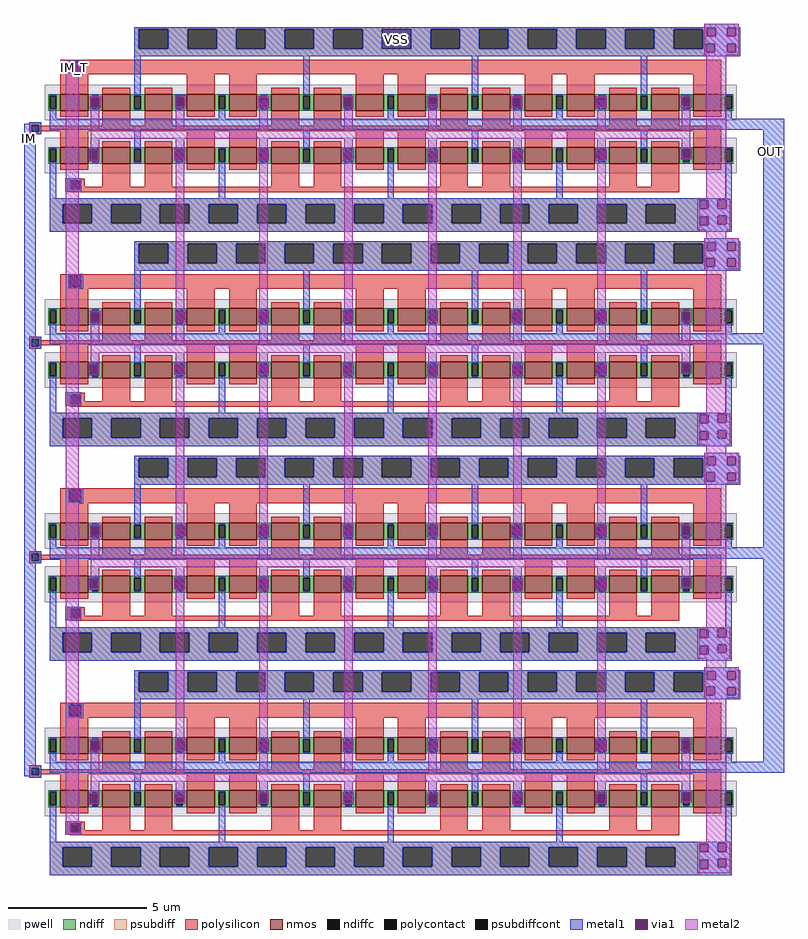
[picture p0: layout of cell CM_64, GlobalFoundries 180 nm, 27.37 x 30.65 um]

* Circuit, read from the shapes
.subckt CM_64 IM IM_T OUT VSS
XM1 n1 IM VSS VSS nfet_03v3 w=0.6u l=1u m=64
XM2 n1 IM_T OUT VSS nfet_03v3 w=0.6u l=1u m=64
.ends

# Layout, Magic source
magic
tech gf180mcuC
magscale 1 10
<< metal1 >>
rect 2521 5940 2780 6093
rect 296 5783 363 5852
rect 1 5409 47 5412
rect -37 712 47 5409
rect 5234 5367 5436 5447
rect 5286 735 5436 5367
<< metal2 >>
rect 264 2622 358 5865
rect 264 932 359 2622
rect 1056 555 1118 5307
rect 1658 598 1720 5582
rect 2269 538 2331 5505
rect 2874 621 2936 5554
rect 3486 534 3548 5509
rect 4092 609 4154 5580
rect 4877 4490 5021 5030
rect 4877 2744 5021 3462
rect 4877 1170 5021 1994
use CM_16  CM_16_0
transform 1 0 112 0 1 4692
box -112 -60 5231 1437
use CM_16  CM_16_1
transform 1 0 112 0 1 3148
box -112 -60 5231 1437
use CM_16  CM_16_2
transform 1 0 112 0 1 1604
box -112 -60 5231 1437
use CM_16  CM_16_3
transform 1 0 112 0 1 60
box -112 -60 5231 1437
<< labels >>
flabel metal1 -1 5302 -1 5302 0 FreeSans 1600 0 0 0 IM
port 0 nsew
flabel metal2 328 5818 328 5818 0 FreeSans 1600 0 0 0 IM_T
port 1 nsew
flabel metal1 5337 5211 5337 5211 0 FreeSans 1600 0 0 0 OUT
port 2 nsew
flabel metal1 2645 6016 2645 6016 0 FreeSans 1600 0 0 0 VSS
port 3 nsew
<< end >>

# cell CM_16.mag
magic
tech gf180mcuC
magscale 1 10
<< psubdiff >>
rect 645 1399 4765 1415
rect 645 1259 679 1399
rect 889 1259 1029 1399
rect 1239 1259 1379 1399
rect 1589 1259 1729 1399
rect 1939 1259 2079 1399
rect 2289 1259 2429 1399
rect 2639 1259 2779 1399
rect 2989 1259 3129 1399
rect 3339 1259 3479 1399
rect 3689 1259 3829 1399
rect 4039 1259 4179 1399
rect 4389 1259 4529 1399
rect 4739 1259 4765 1399
rect 645 1205 4765 1259
rect 37 140 4717 181
rect 37 0 130 140
rect 340 0 480 140
rect 690 0 830 140
rect 1040 0 1180 140
rect 1390 0 1530 140
rect 1740 0 1880 140
rect 2090 0 2230 140
rect 2440 0 2580 140
rect 2790 0 2930 140
rect 3140 0 3280 140
rect 3490 0 3630 140
rect 3840 0 3980 140
rect 4190 0 4330 140
rect 4540 0 4717 140
rect 37 -60 4717 0
<< psubdiffcont >>
rect 679 1259 889 1399
rect 1029 1259 1239 1399
rect 1379 1259 1589 1399
rect 1729 1259 1939 1399
rect 2079 1259 2289 1399
rect 2429 1259 2639 1399
rect 2779 1259 2989 1399
rect 3129 1259 3339 1399
rect 3479 1259 3689 1399
rect 3829 1259 4039 1399
rect 4179 1259 4389 1399
rect 4529 1259 4739 1399
rect 130 0 340 140
rect 480 0 690 140
rect 830 0 1040 140
rect 1180 0 1390 140
rect 1530 0 1740 140
rect 1880 0 2090 140
rect 2230 0 2440 140
rect 2580 0 2790 140
rect 2930 0 3140 140
rect 3280 0 3490 140
rect 3630 0 3840 140
rect 3980 0 4190 140
rect 4330 0 4540 140
<< polysilicon >>
rect 112 1166 4872 1180
rect 112 1087 180 1166
rect 259 1087 4872 1166
rect 112 1073 4872 1087
rect 112 976 312 1073
rect 1024 976 1224 1073
rect 1328 976 1528 1073
rect 2240 976 2440 1073
rect 2544 976 2744 1073
rect 3456 976 3656 1073
rect 3760 976 3960 1073
rect 4672 976 4872 1073
rect -112 709 -25 729
rect -112 661 -92 709
rect -43 703 -25 709
rect 416 703 616 768
rect 720 703 920 768
rect 1632 703 1832 768
rect 1936 703 2136 768
rect 2848 703 3048 768
rect 3152 703 3352 768
rect 4064 703 4264 768
rect 4368 703 4568 768
rect -43 666 4872 703
rect -43 661 -25 666
rect -112 642 -25 661
rect 112 594 312 666
rect 1024 594 1224 666
rect 1328 594 1528 666
rect 2240 594 2440 666
rect 2544 594 2744 666
rect 3456 594 3656 666
rect 3760 594 3960 666
rect 4672 594 4872 666
rect 507 386 616 430
rect 147 324 265 327
rect 147 312 290 324
rect 147 247 188 312
rect 253 263 290 312
rect 416 263 616 386
rect 720 263 920 386
rect 1632 263 1832 386
rect 1936 263 2136 386
rect 2848 263 3048 386
rect 3152 263 3352 386
rect 4064 263 4264 386
rect 4368 263 4568 386
rect 253 247 4568 263
rect 147 230 4568 247
rect 182 226 4568 230
<< polycontact >>
rect 180 1087 259 1166
rect -92 661 -43 709
rect 188 247 253 312
<< metal1 >>
rect 4751 1415 4999 1437
rect 645 1409 5009 1415
rect 645 1408 4916 1409
rect 645 1399 4772 1408
rect 645 1259 679 1399
rect 889 1259 1029 1399
rect 1239 1259 1379 1399
rect 1589 1259 1729 1399
rect 1939 1259 2079 1399
rect 2289 1259 2429 1399
rect 2639 1259 2779 1399
rect 2989 1259 3129 1399
rect 3339 1259 3479 1399
rect 3689 1259 3829 1399
rect 4039 1259 4179 1399
rect 4389 1259 4529 1399
rect 4739 1348 4772 1399
rect 4832 1348 4916 1408
rect 4739 1347 4916 1348
rect 4978 1347 5009 1409
rect 4739 1295 5009 1347
rect 4739 1259 4765 1295
rect 645 1233 4765 1259
rect 4827 1294 5009 1295
rect 4827 1234 4917 1294
rect 4977 1234 5009 1294
rect 4827 1233 5009 1234
rect 645 1205 5009 1233
rect 171 1166 268 1175
rect 171 1087 180 1166
rect 259 1087 268 1166
rect 171 1078 268 1087
rect 645 921 691 1205
rect 1861 928 1907 1205
rect 3077 930 3123 1205
rect 4293 930 4339 1205
rect 325 906 403 917
rect 325 838 333 906
rect 393 838 403 906
rect 325 829 403 838
rect 939 910 1017 922
rect 939 844 949 910
rect 1006 844 1017 910
rect 939 834 1017 844
rect 1538 906 1616 918
rect 1538 840 1548 906
rect 1605 840 1616 906
rect 1538 830 1616 840
rect 2145 908 2223 920
rect 2145 842 2155 908
rect 2212 842 2223 908
rect 2145 832 2223 842
rect 2755 908 2833 920
rect 2755 842 2765 908
rect 2822 842 2833 908
rect 2755 832 2833 842
rect 3361 906 3439 918
rect 3361 840 3371 906
rect 3428 840 3439 906
rect 3361 830 3439 840
rect 3969 906 4047 918
rect 3969 840 3979 906
rect 4036 840 4047 906
rect 3969 830 4047 840
rect 4580 910 4658 922
rect 4580 844 4590 910
rect 4647 844 4658 910
rect 4580 834 4658 844
rect 37 755 83 815
rect 1253 755 1299 814
rect 2469 755 2515 814
rect 3685 755 3731 814
rect 4901 755 4947 814
rect -112 709 -25 729
rect -112 661 -92 709
rect -43 661 -25 709
rect 37 675 5231 755
rect -112 642 -25 661
rect 645 548 691 675
rect 1861 548 1907 675
rect 3077 548 3123 675
rect 4293 548 4339 675
rect 316 526 394 538
rect 316 460 326 526
rect 383 460 394 526
rect 316 450 394 460
rect 933 529 1011 541
rect 933 463 943 529
rect 1000 463 1011 529
rect 933 453 1011 463
rect 1537 528 1615 540
rect 1537 462 1547 528
rect 1604 462 1615 528
rect 1537 452 1615 462
rect 2146 525 2224 537
rect 2146 459 2156 525
rect 2213 459 2224 525
rect 2146 449 2224 459
rect 2755 521 2833 533
rect 2755 455 2765 521
rect 2822 455 2833 521
rect 2755 445 2833 455
rect 3368 521 3446 533
rect 3368 455 3378 521
rect 3435 455 3446 521
rect 3368 445 3446 455
rect 3969 527 4047 539
rect 3969 461 3979 527
rect 4036 461 4047 527
rect 4582 537 4660 549
rect 4582 471 4592 537
rect 4649 471 4660 537
rect 4582 461 4660 471
rect 3969 451 4047 461
rect 37 181 83 432
rect 147 312 265 327
rect 147 247 188 312
rect 253 247 265 312
rect 147 230 265 247
rect 1253 181 1299 432
rect 2469 181 2515 432
rect 3685 181 3731 432
rect 4901 181 4947 432
rect 37 170 4947 181
rect 37 166 4847 170
rect 37 140 4718 166
rect 37 0 130 140
rect 340 0 480 140
rect 690 0 830 140
rect 1040 0 1180 140
rect 1390 0 1530 140
rect 1740 0 1880 140
rect 2090 0 2230 140
rect 2440 0 2580 140
rect 2790 0 2930 140
rect 3140 0 3280 140
rect 3490 0 3630 140
rect 3840 0 3980 140
rect 4190 0 4330 140
rect 4540 106 4718 140
rect 4778 108 4847 166
rect 4909 108 4947 170
rect 4778 106 4947 108
rect 4540 56 4947 106
rect 4540 49 4848 56
rect 4540 0 4717 49
rect 37 -13 4717 0
rect 4779 -4 4848 49
rect 4908 -4 4947 56
rect 4779 -13 4947 -4
rect 37 -60 4947 -13
<< via1 >>
rect 4772 1348 4832 1408
rect 4916 1347 4978 1409
rect 4765 1233 4827 1295
rect 4917 1234 4977 1294
rect 190 1098 246 1154
rect 333 838 393 906
rect 949 844 1006 910
rect 1548 840 1605 906
rect 2155 842 2212 908
rect 2765 842 2822 908
rect 3371 840 3428 906
rect 3979 840 4036 906
rect 4590 844 4647 910
rect 326 460 383 526
rect 943 463 1000 529
rect 1547 462 1604 528
rect 2156 459 2213 525
rect 2765 455 2822 521
rect 3378 455 3435 521
rect 3979 461 4036 527
rect 4592 471 4649 537
rect 191 249 245 303
rect 4718 106 4778 166
rect 4847 108 4909 170
rect 4717 -13 4779 49
rect 4848 -4 4908 56
<< metal2 >>
rect 4751 1409 4999 1437
rect 4751 1408 4916 1409
rect 4751 1348 4772 1408
rect 4832 1348 4916 1408
rect 4751 1347 4916 1348
rect 4978 1347 4999 1409
rect 4751 1295 4999 1347
rect 4751 1233 4765 1295
rect 4827 1294 4999 1295
rect 4827 1234 4917 1294
rect 4977 1234 4999 1294
rect 4827 1233 4999 1234
rect 4751 1216 4999 1233
rect 165 1167 279 1181
rect 152 1154 279 1167
rect 152 1098 190 1154
rect 246 1098 279 1154
rect 152 1070 279 1098
rect 152 327 246 1070
rect 325 906 403 917
rect 325 838 333 906
rect 393 838 403 906
rect 325 829 403 838
rect 939 910 1017 922
rect 939 844 949 910
rect 1006 844 1017 910
rect 939 834 1017 844
rect 1538 906 1616 918
rect 1538 840 1548 906
rect 1605 840 1616 906
rect 331 674 393 829
rect 944 674 1006 834
rect 1538 830 1616 840
rect 2145 908 2223 920
rect 2145 842 2155 908
rect 2212 842 2223 908
rect 2145 832 2223 842
rect 2755 908 2833 920
rect 2755 842 2765 908
rect 2822 842 2833 908
rect 2755 832 2833 842
rect 3361 906 3439 918
rect 3361 840 3371 906
rect 3428 840 3439 906
rect 1546 674 1608 830
rect 2157 674 2219 832
rect 2762 674 2824 832
rect 3361 830 3439 840
rect 3969 906 4047 918
rect 3969 840 3979 906
rect 4036 840 4047 906
rect 3969 830 4047 840
rect 4580 910 4658 922
rect 4580 844 4590 910
rect 4647 844 4658 910
rect 4580 834 4658 844
rect 3374 674 3436 830
rect 3980 674 4042 830
rect 4588 674 4650 834
rect 331 612 4650 674
rect 331 538 393 612
rect 944 541 1006 612
rect 316 526 394 538
rect 316 460 326 526
rect 383 460 394 526
rect 316 450 394 460
rect 933 529 1011 541
rect 1546 540 1608 612
rect 933 463 943 529
rect 1000 463 1011 529
rect 933 453 1011 463
rect 1537 528 1615 540
rect 2157 537 2219 612
rect 1537 462 1547 528
rect 1604 462 1615 528
rect 1537 452 1615 462
rect 2146 525 2224 537
rect 2762 533 2824 612
rect 3374 533 3436 612
rect 3980 539 4042 612
rect 4588 549 4650 612
rect 2146 459 2156 525
rect 2213 459 2224 525
rect 2146 449 2224 459
rect 2755 521 2833 533
rect 2755 455 2765 521
rect 2822 455 2833 521
rect 2755 445 2833 455
rect 3368 521 3446 533
rect 3368 455 3378 521
rect 3435 455 3446 521
rect 3368 445 3446 455
rect 3969 527 4047 539
rect 3969 461 3979 527
rect 4036 461 4047 527
rect 4582 537 4660 549
rect 4582 471 4592 537
rect 4649 471 4660 537
rect 4582 461 4660 471
rect 3969 451 4047 461
rect 147 303 265 327
rect 147 249 191 303
rect 245 249 265 303
rect 147 230 265 249
rect 4765 179 4909 1216
rect 4698 170 4937 179
rect 4698 166 4847 170
rect 4698 106 4718 166
rect 4778 108 4847 166
rect 4909 108 4937 170
rect 4778 106 4937 108
rect 4698 56 4937 106
rect 4698 49 4848 56
rect 4698 -13 4717 49
rect 4779 -4 4848 49
rect 4908 -4 4937 56
rect 4779 -13 4937 -4
rect 4698 -48 4937 -13
use nmos_3p3_GJ7FB7  nmos_3p3_GJ7FB7_0
transform 1 0 2492 0 1 872
box -2492 -128 2492 128
use nmos_3p3_GJ7FB7  nmos_3p3_GJ7FB7_1
transform 1 0 2492 0 1 490
box -2492 -128 2492 128
<< labels >>
flabel psubdiffcont 2534 1326 2534 1326 0 FreeSans 640 0 0 0 VSS
port 0 nsew
flabel metal1 5166 721 5166 721 0 FreeSans 640 0 0 0 OUT
port 1 nsew
flabel polycontact -72 694 -72 694 0 FreeSans 640 0 0 0 IM
port 2 nsew
flabel via1 214 1126 214 1126 0 FreeSans 640 0 0 0 IM_T
port 3 nsew
<< end >>

# cell nmos_3p3_GJ7FB7: kit device nmos_3p3, w 0.6 l 1 m 1 nf 16 diffcov 100 polycov 100 guard 0 glc 0 grc 1 gtc 0 gbc 0 tbcov 100 rlcov 100 topc 0 botc 0 poverlap 0 doverlap 1 lmin 0.28 wmin 0.22 full_metal 0 compatible {nmos_3p3 nmos_6p0 nmos_6p0_nat}
